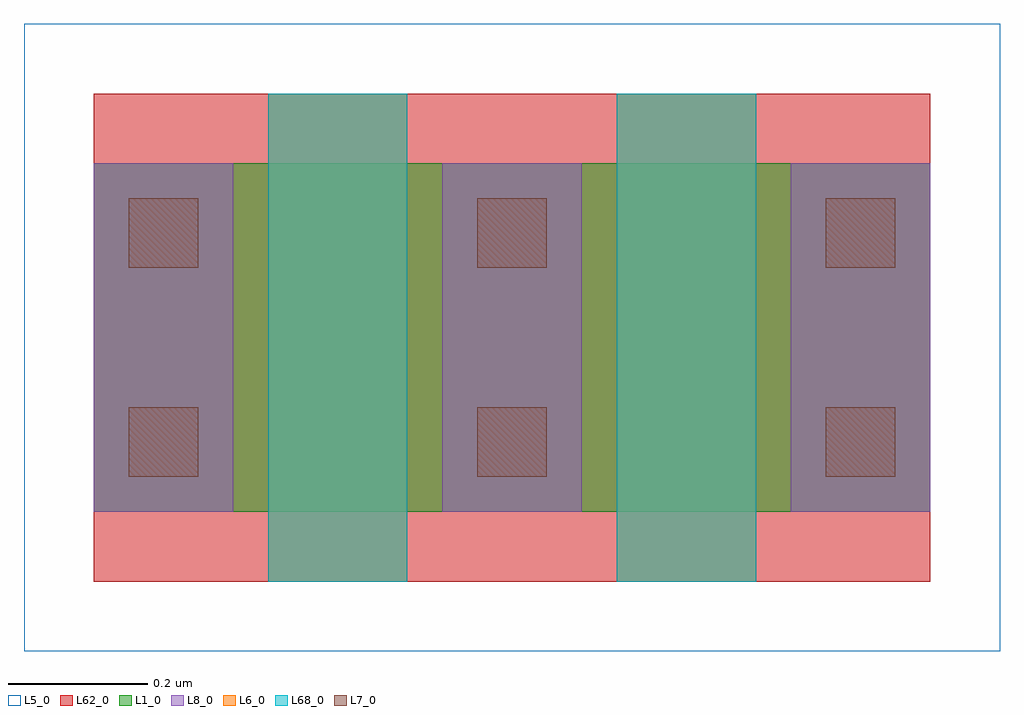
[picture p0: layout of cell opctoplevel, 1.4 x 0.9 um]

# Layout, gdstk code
import gdstk
lib = gdstk.Library(unit=1e-6, precision=1e-09)
def R(c, l, rs):  # rectangles x0, y0, x1, y1
    for r in rs: c.add(gdstk.rectangle(r[:2], r[2:], *l))
def A(c, l, x, y, w, h, nx, ny, dx, dy):  # array of equal rectangles
    R(c, l, [(x+i*dx, y+j*dy, x+i*dx+w, y+j*dy+h) for i in range(nx) for j in range(ny)])
L1_0 = (1, 0)
L5_0 = (5, 0)
L6_0 = (6, 0)
L7_0 = (7, 0)
L8_0 = (8, 0)
L62_0 = (62, 0)
L68_0 = (68, 0)

opctoplevel = lib.new_cell('opctoplevel')
R(opctoplevel, L1_0, [(-0.25,0,0.95,0.5)])
R(opctoplevel, L5_0, [(-0.35,-0.2,1.05,0.7)])
R(opctoplevel, L6_0, [(0,-0.1,0.2,0.6), (0.5,-0.1,0.7,0.6)])
A(opctoplevel, L7_0, -0.2, 0.05, 0.1, 0.1, 3, 2, 0.5, 0.3)
A(opctoplevel, L8_0, -0.25, 0, 0.2, 0.5, 3, 1, 0.5, 0)
R(opctoplevel, L62_0, [(-0.25,-0.1,0.95,0.6)])
R(opctoplevel, L68_0, [(0,-0.1,0.2,0.6), (0.5,-0.1,0.7,0.6)])

lib.write_gds('opctoplevel.gds')
